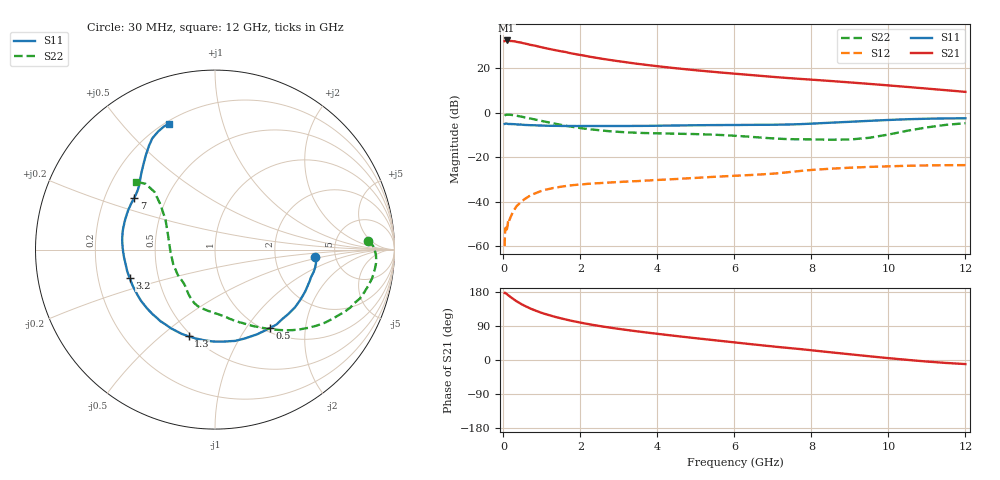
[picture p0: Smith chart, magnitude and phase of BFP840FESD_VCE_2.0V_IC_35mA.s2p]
! Infineon Technologies  Discrete & RF Semiconductors
! BFP840FESD
! VCE =  2.0 V,  IC =  35 mA
! Common Emitter S-Parameters:  May 2012
# GHz  S  MA  R  50
!  f  S11  S21  S12  S22
! GHz  MAG  ANG  MAG  ANG  MAG  ANG  MAG  ANG
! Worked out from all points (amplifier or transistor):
!   103 points, 30 MHz to 12 GHz, reference 50 ohm
!   highest |S21| = 32.4 dB at 80 MHz (marker M1)
!   |S21| within 3 dB of that: start of sweep to 975.5 MHz
!   unconditionally stable (mu >= 1): start of sweep to 47.58 MHz; 68.35 MHz to 70.92 MHz; 4.259 GHz to end of sweep
!   at 400 MHz: K = 0.36, MSG = 36.4 dB, |S12| = -41.1 dB
!   at 3.7 GHz: K = 0.94, MSG = 26.0 dB, |S12| = -30.5 dB
!   at 12 GHz: K = 1.12, MAG = 14.4 dB, |S12| = -23.6 dB
!   S11 on the Smith chart (normalised r, x): 30 MHz: 3.46, -0.40; 500 MHz: 1.06, -1.30; 1.3 GHz: 0.48, -0.62; 3.2 GHz: 0.34, -0.14; 7 GHz: 0.33, +0.26; 12 GHz: 0.21, +0.68
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0.03  0.5569 -4.1  40.3 176.9  0.001 81.8  0.8536 3.4
0.04  0.5597 -5.1  40.58 176.4  0.0019 81.0  0.8697 2.4
0.05  0.5675 -6.4  41.31 177.2  0.0025 68.3  0.8813 1.3
0.08  0.5666 -10.2  41.83 174.6  0.0024 71.4  0.8955 -1.5
0.2  0.5542 -25.0  40.61 164.9  0.0048 72.6  0.8901 -10.3
0.3  0.5496 -35.8  39.84 157.8  0.007 72.4  0.8649 -16.0
0.45  0.5401 -50.5  37.68 148.3  0.0099 66.4  0.8201 -23.2
0.5  0.5335 -55.2  36.52 145.7  0.0106 65.7  0.801 -25.6
0.6  0.5272 -63.5  35.08 140.6  0.0122 63.3  0.7666 -29.6
0.8  0.5208 -77.6  32.23 131.7  0.0151 58.5  0.7074 -36.8
1  0.5124 -91.0  29.27 124.2  0.0176 54.4  0.6492 -43.2
1.3  0.5052 -106.9  25.78 115.0  0.0203 49.7  0.5741 -51.3
1.7  0.5 -123.6  22.04 105.0  0.023 44.9  0.4928 -61.0
2.1  0.5002 -136.9  19.04 96.7  0.0247 41.9  0.4375 -69.3
2.6  0.5004 -149.8  16.04 88.0  0.0264 39.7  0.3936 -78.1
3.2  0.501 -161.6  13.5 79.3  0.0282 39.1  0.3609 -86.9
4.1  0.5093 -175.8  10.79 67.9  0.031 39.9  0.3415 -97.6
6.1  0.5282 159.4  7.385 45.4  0.0385 41.7  0.2986 -117.7
7  0.5343 147.4  6.367 35.8  0.0426 43.7  0.2643 -128.5
8.5  0.594 133.6  5.138 20.3  0.055 40.2  0.2464 -161.1
10.5  0.711 119.5  3.773 0.3  0.064 31.0  0.3932 140.5
12  0.7472 110.1  2.927 -10.7  0.0662 27.0  0.5786 139.2
